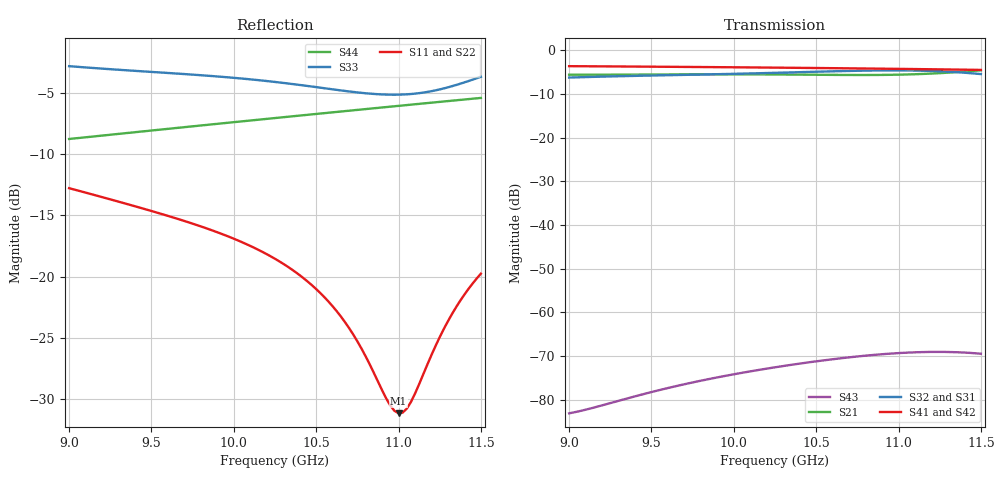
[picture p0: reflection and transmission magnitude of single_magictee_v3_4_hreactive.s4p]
! Touchstone file exported from HFSS 2025.2.4
!  File:  //wsl.localhost/Ubuntu/tmp/hfss-r11/hfss/output_v3_4_jacobian/h_terminal_ridge_w_minus/single_magictee_v3_4_hreactive.aedt
!  Generated:  03:05:36 PM Sep 22, 2026
!  Design:  SingleMagicT_v3_4_HReactiveCell
!  Project:  single_magictee_v3_4_hreactive
! Variables:
!  f_adapt = 10.2GHz
!  h_cap_height = 9mm
!  h_cap_len = 2.5mm
!  h_terminal_ridge_w = 4.072mm
!  h_throat_a = 20.4mm
!  h_throat_len = 5.5mm
!  ridge_g1 = 7.672mm
!  ridge_g2 = 5.8mm
!  ridge_l1 = 9.872mm
!  ridge_l2 = 8.857mm
!  ridge_w = 4.572mm
!  terminal_ridge_len = 7.5mm
!  wg_a = 22.86mm
!  wg_b = 10.16mm
!Data is not renormalized
# GHz S MA
! Terminal data exported
! Port[1] = P1_CollinearMinusX
! Port[2] = P2_CollinearPlusX
! Port[3] = P3_HArm_Ridged
! Port[4] = P4_EArm
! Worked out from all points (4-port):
!   101 points, 9 GHz to 11.5 GHz, reference per port
!   strongest paths, dB at 9 GHz, 9.625 GHz, 10.25 GHz, 10.88 GHz, 11.5 GHz:
!     S41: -3.6, -3.8, -4.0, -4.2, -4.5
!     S42: -3.6, -3.8, -4.0, -4.2, -4.5
!     S32: -6.2, -5.7, -5.2, -4.6, -5.4
!     S31: -6.2, -5.7, -5.2, -4.6, -5.5
!     S21: -5.6, -5.5, -5.5, -5.6, -4.6
!     S43: -83.1, -77.1, -72.6, -69.7, -69.5
!   lowest |S11| = -31.2 dB at 11 GHz (marker M1), VSWR 1.06
!   |S11| at or under -10 dB: start of sweep to end of sweep
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9  0.2299 148.4  0.5253 -175.6  0.4875 64.3  0.6584 46.0
   0.5253 -175.6  0.2303 148.4  0.4877 64.2  0.6582 -134.0
   0.4875 64.3  0.4877 64.2  0.7242 134.9  6.985e-05 38.2
   0.6584 46.0  0.6582 -134.0  6.985e-05 38.2  0.3652 -114.1
9.35  0.1982 109.5  0.5271 145.9  0.5072 15.5  0.6524 6.0
      0.5271 145.9  0.1985 109.4  0.5074 15.4  0.6522 -174.1
      0.5072 15.5  0.5074 15.4  0.6966 74.7  0.000103 4.2
      0.6524 6.0  0.6522 -174.1  0.000103 4.2  0.3861 -151.8
9.75  0.1647 66.1  0.5302 103.3  0.5256 -39.4  0.6446 -38.3
      0.5302 103.3  0.165 66.0  0.5258 -39.4  0.6444 141.7
      0.5256 -39.4  0.5258 -39.4  0.6688 6.5  0.0001576 -51.0
      0.6446 -38.3  0.6444 141.7  0.0001576 -51.0  0.4113 166.1
10.325  0.1101 4.0  0.5279 44.5  0.557 -117.9  0.6317 -99.8
        0.5279 44.5  0.1106 3.8  0.5572 -117.9  0.6314 80.1
        0.557 -117.9  0.5572 -117.9  0.6159 -93.6  0.0002469 -140.8
        0.6317 -99.8  0.6314 80.1  0.0002469 -140.8  0.4498 106.6
10.7  0.06166 -31.2  0.5222 8.7  0.5804 -170.9  0.6219 -139.0
      0.5222 8.7  0.06224 -31.5  0.5807 -171.0  0.6215 40.9
      0.5804 -170.9  0.5807 -171.0  0.571 -166.6  0.0003054 157.5
      0.6219 -139.0  0.6215 40.9  0.0003054 157.5  0.4764 68.4
11  0.02768 -11.5  0.5263 -17.8  0.5885 144.3  0.6131 -170.0
    0.5263 -17.8  0.02799 -13.0  0.5889 144.2  0.6128 9.9
    0.5885 144.3  0.5889 144.2  0.554 126.0  0.0003416 106.3
    0.6131 -170.0  0.6128 9.9  0.0003416 106.3  0.4986 38.0
11.5  0.1029 -6.2  0.5904 -61.1  0.5338 65.3  0.5966 138.7
      0.5904 -61.1  0.1027 -6.8  0.5343 65.3  0.5962 -41.4
      0.5338 65.3  0.5343 65.3  0.6554 4.3  0.000336 18.6
      0.5966 138.7  0.5962 -41.4  0.000336 18.6  0.5372 -12.6
